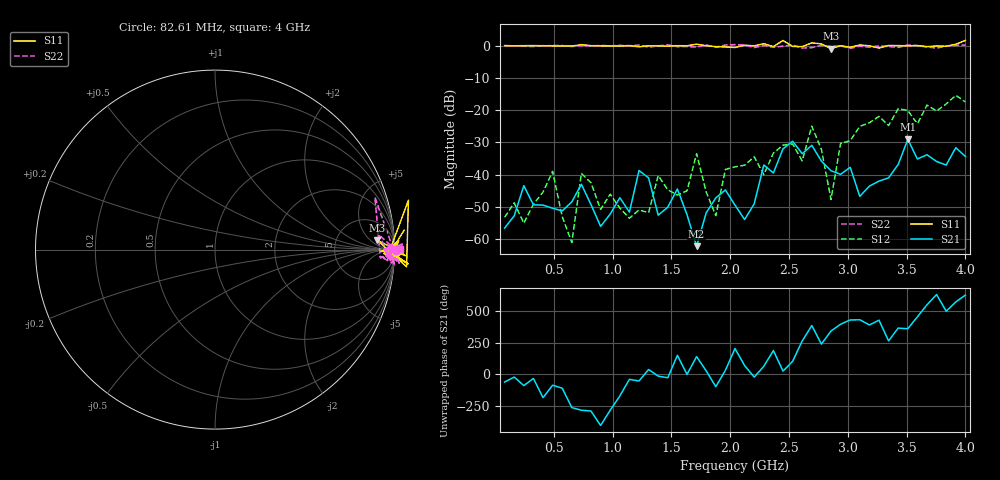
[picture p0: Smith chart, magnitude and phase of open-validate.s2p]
!Created with skrf (http://scikit-rf.org).
# GHz S DB R 50.0
!freq dBS11 angS11 dBS21 angS21 dBS12 angS12 dBS22 angS22
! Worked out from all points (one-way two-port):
!   49 points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, 82.61 MHz to 4 GHz, reference 50 ohm
!   highest |S21| = -29.06 dB at 3.51 GHz (marker M1); lowest = -62.2 dB at 1.715 GHz (marker M2)
!   lowest |S11| = -0.9 dB at 2.857 GHz (marker M3), VSWR 20.07, Z = 752 + j434 ohm
!   |S11| at or under -10 dB: nowhere
!   |S22| runs from -0.8 to 0.4 dB; largest |S21 - S12| = 0.17
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0.08261224  0.07 -0.8  -56.60 -62.2  -53.25 134.7  0.07 -0.1
0.2458367  0.05 1.3  -43.45 -90.4  -55.09 -159.2  -0.13 -0.4
0.4906735  -0.02 0.4  -50.44 -87.4  -38.99 48.5  0.09 -0.2
0.653898  -0.06 0.4  -48.46 94.8  -61.10 121.6  -0.19 1.8
0.7355102  0.36 0.2  -43.00 74.2  -39.68 54.5  0.06 -2.3
0.8987347  -0.01 -0.0  -56.08 -46.6  -50.83 -164.4  0.11 -1.4
1.143571  0.06 0.7  -51.64 -40.9  -53.56 96.0  0.03 -0.9
1.225184  -0.31 1.4  -38.73 -54.2  -50.97 -150.5  0.20 -0.1
1.388408  -0.02 1.6  -52.61 -15.5  -40.29 -120.9  -0.02 -1.1
1.551633  0.05 0.5  -44.46 149.2  -46.37 52.3  -0.25 0.2
1.714857  0.52 -1.8  -62.23 139.3  -33.52 -123.5  -0.36 0.5
1.878082  -0.24 -0.8  -47.23 -99.1  -52.77 -71.2  -0.44 -0.2
2.041306  -0.53 -1.4  -49.47 -156.3  -37.58 19.8  0.38 2.1
2.122918  0.21 2.9  -53.96 68.4  -37.09 104.4  0.26 -1.4
2.53098  -0.18 -2.7  -29.63 101.7  -30.47 65.7  0.25 -0.4
2.775816  0.60 -5.1  -35.80 -121.5  -32.15 -21.6  0.16 -3.6
2.857429  -0.87 3.3  -38.78 -17.5  -47.74 -131.1  -0.25 0.8
2.939041  0.03 0.2  -39.91 36.3  -30.32 -53.2  0.02 -4.6
3.102265  0.27 -0.3  -46.76 71.5  -25.02 155.8  -0.11 0.9
3.428714  0.07 1.6  -36.85 5.5  -19.52 -66.6  -0.48 -0.1
3.510327  0.02 -0.3  -29.06 0.5  -20.07 -9.1  0.25 -4.3
4  1.67 -1.8  -34.36 -92.7  -17.44 1.3  0.24 0.3
